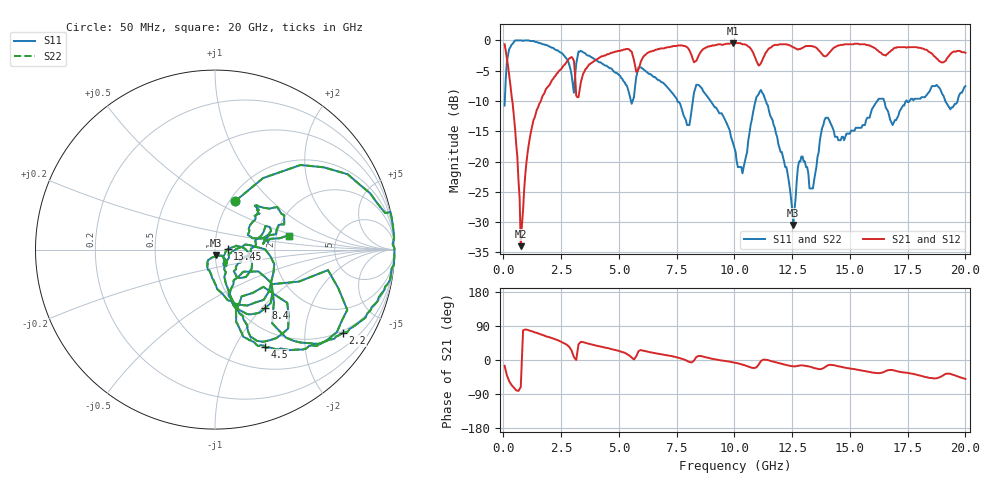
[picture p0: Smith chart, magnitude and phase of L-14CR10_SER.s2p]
#	mhz	s	ma	r	50
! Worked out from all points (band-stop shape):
!   400 points, 50 MHz to 20 GHz, reference 50 ohm
!   highest |S21| = -0.45 dB at 9.95 GHz (marker M1); lowest = -34.0 dB at 750 MHz (marker M2)
!   |S21| within 3 dB of the highest: 8.313 GHz to 10.96 GHz (2.649 GHz wide, 27.5 % of centre); 11.19 GHz to 18.89 GHz (7.699 GHz wide, 51.2 % of centre) (the widest 2 of 7)
!   lowest |S11| = -30.5 dB at 12.55 GHz (marker M3), VSWR 1.06, Z = 50.5 - j2.97 ohm
!   |S11| at or under -10 dB: 8.969 GHz to 10.91 GHz (1.942 GHz wide, 19.5 % of centre); 11.36 GHz to 16.18 GHz (4.822 GHz wide, 35 % of centre); 16.48 GHz to 17.43 GHz (947.2 MHz wide, 5.59 % of centre) (the widest 3 of 8)
!   |S22| runs from -30.5 to 0.0 dB; largest |S21 - S12| = 0
!   S11 on the Smith chart (normalised r, x): 50 MHz: 1.06, +0.62; 2.2 GHz: 0.93, -3.11; 4.5 GHz: 0.77, -1.33; 8.4 GHz: 1.31, -1.05; 13.45 GHz: 1.15, +0.00; 20 GHz: 2.35, +0.44
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50  0.29 67.6  0.93 -15.3  0.93 -15.3  0.29 67.6
600  1 10.1  0.11 -80.7  0.11 -80.7  1 10.1
750  1 5.6  0.02 -71.0  0.02 -71.0  1 5.6
1200  0.99 -7.1  0.18 76.3  0.18 76.3  0.99 -7.1
2200  0.85 -33.1  0.5 55.5  0.5 55.5  0.85 -33.1
3000  0.44 -41.8  0.71 16.4  0.71 16.4  0.44 -41.8
3150  0.64 -10.3  0.35 0.0  0.35 0.0  0.64 -10.3
3400  0.81 -36.7  0.49 47.6  0.49 47.6  0.81 -36.7
4500  0.61 -62.7  0.77 31.6  0.77 31.6  0.61 -62.7
6700  0.47 -67.5  0.85 16.4  0.85 16.4  0.47 -67.5
7950  0.2 -58.6  0.88 -2.2  0.88 -2.2  0.2 -58.6
8400  0.43 -49.2  0.71 9.3  0.71 9.3  0.43 -49.2
9950  0.14 -64.4  0.95 -6.2  0.95 -6.2  0.14 -64.4
10050  0.12 -64.9  0.95 -7.5  0.95 -7.5  0.12 -64.9
11150  0.39 -45.9  0.65 -2.7  0.65 -2.7  0.39 -45.9
12550  0.03 -77.9  0.88 -16.8  0.88 -16.8  0.03 -77.9
12900  0.11 -54.5  0.86 -14.2  0.86 -14.2  0.11 -54.5
13350  0.06 -27.0  0.9 -19.3  0.9 -19.3  0.06 -27.0
13450  0.07 1.2  0.89 -21.1  0.89 -21.1  0.07 1.2
13950  0.23 -27.2  0.74 -17.3  0.74 -17.3  0.23 -27.2
16700  0.24 15.2  0.8 -26.5  0.8 -26.5  0.24 15.2
20000  0.42 10.5  0.79 -50.0  0.79 -50.0  0.42 10.5
